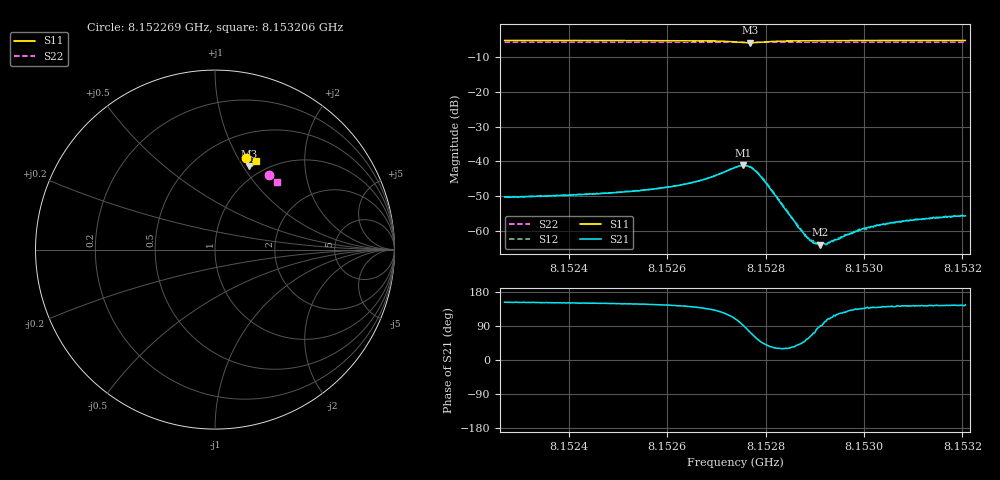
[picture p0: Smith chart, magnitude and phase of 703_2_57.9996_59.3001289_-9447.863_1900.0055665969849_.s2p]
#  HZ  S  RI  R  50.00
! Rohde & Schwarz Vector Network Analyzer
! Rohde-Schwarz,ZNB20-2Port,1311601062101988,3.16
! Created: UTC 3/21/2024, 1:21:51 AM
! freq[Hz]  re:S11  im:S11  re:S21  im:S21  re:S12  im:S12  re:S22  im:S22
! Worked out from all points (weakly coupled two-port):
!   401 points, 8.152269 GHz to 8.153206 GHz, reference 50 ohm
!   highest |S21| = -41.15 dB at 8.152754 GHz (marker M1); lowest = -63.8 dB at 8.152911 GHz (marker M2)
!   lowest |S11| = -6.0 dB at 8.152768 GHz (marker M3), VSWR 3.01, Z = 42.9 + j53.1 ohm
!   |S11| at or under -10 dB: nowhere
!   |S22| runs from -5.9 to -5.8 dB; largest |S21 - S12| = 0.00022
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8.1522695e9  0.1739 0.5117  -0.00275 0.00143  -0.00274 0.00148  0.2991 0.4149
8.1524264e9  0.1857 0.5074  -0.0029 0.00167  -0.0029 0.00172  0.3071 0.4087
8.1525224e9  0.1935 0.5042  -0.00316 0.00195  -0.00314 0.00201  0.312 0.4048
8.1525833e9  0.199 0.5015  -0.00339 0.00233  -0.00338 0.00236  0.315 0.4024
8.1526629e9  0.2081 0.4947  -0.00392 0.00346  -0.0039 0.0035  0.3189 0.3989
8.152691e9  0.2117 0.4896  -0.00411 0.00439  -0.00405 0.00445  0.3203 0.3976
8.1527379e9  0.2112 0.4707  -0.00268 0.00776  -0.00273 0.00774  0.3222 0.3952
8.1527542e9  0.2015 0.463  -0.000282 0.00876  -0.000344 0.00879  0.3226 0.3943
8.1527683e9  0.1886 0.4639  0.00237 0.00795  0.00228 0.00815  0.3228 0.394
8.15278e9  0.1807 0.4709  0.00376 0.00621  0.00379 0.00642  0.3231 0.3938
8.1527941e9  0.1782 0.4812  0.00401 0.00399  0.00411 0.00412  0.3238 0.3937
8.1528737e9  0.1962 0.4988  0.000718 0.000704  0.000761 0.000692  0.3284 0.3909
8.1528831e9  0.1978 0.4988  0.000483 0.000684  0.000541 0.000647  0.3291 0.3907
8.1528948e9  0.1997 0.4989  0.000279 0.000651  0.000301 0.00067  0.3295 0.39
8.1529112e9  0.202 0.4988  9.71e-07 0.000643  3.64e-05 0.000611  0.3303 0.3894
8.1529252e9  0.2037 0.4985  -0.00019 0.000636  -0.000143 0.000642  0.3311 0.3887
8.152965e9  0.2083 0.4978  -0.000542 0.000712  -0.00052 0.00071  0.333 0.3871
8.1530002e9  0.2118 0.4968  -0.000802 0.00076  -0.000786 0.000757  0.3348 0.3857
8.1530119e9  0.2128 0.4965  -0.000828 0.00076  -0.000842 0.00078  0.3354 0.3851
8.1530517e9  0.2162 0.4955  -0.00103 0.000825  -0.000998 0.000818  0.3372 0.3833
8.1531009e9  0.2202 0.4942  -0.00117 0.000858  -0.00118 0.000868  0.3395 0.381
8.1532062e9  0.2279 0.491  -0.00138 0.000945  -0.00136 0.00099  0.3445 0.3764
